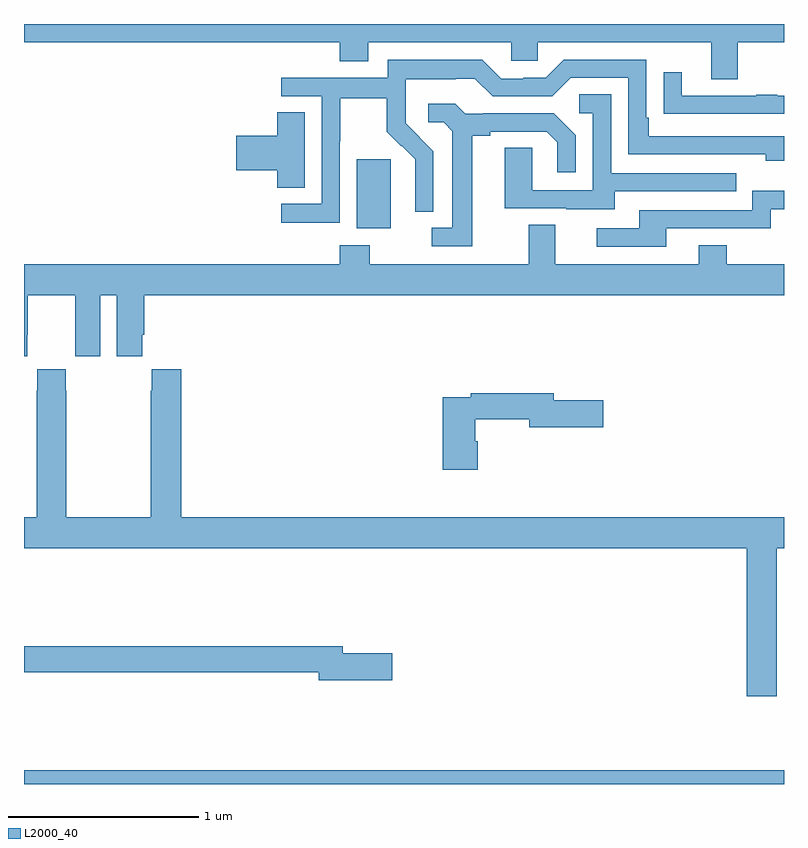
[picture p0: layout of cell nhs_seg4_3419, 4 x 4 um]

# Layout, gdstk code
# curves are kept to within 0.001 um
import gdstk
lib = gdstk.Library(unit=1e-6, precision=1e-09)
def R(c, l, rs):  # rectangles x0, y0, x1, y1
    for r in rs: c.add(gdstk.rectangle(r[:2], r[2:], *l))
def P(c, l, *ps):  # polygons
    for p in ps: c.add(gdstk.Polygon(p, *l))
L2000_40 = (2000, 40)

nhs_seg4_3419 = lib.new_cell('nhs_seg4_3419')
R(nhs_seg4_3419, L2000_40, [(291,808.9,295,808.972), (292.751,811.826,292.93,812.187)])
P(nhs_seg4_3419, L2000_40, [(294.757,812.804),(295,812.804),(295,812.9),(291,812.9),(291,812.804),(292.661,812.804),(292.661,812.705),(292.813,812.705),(292.813,812.804),(293.565,812.804),(293.565,812.706),(293.703,812.706),(293.703,812.804),(294.617,812.804),(294.617,812.61),(294.757,812.61)],
  [(292.662,812.284),(292.665,812.284),(292.665,812.508),(292.909,812.508),(292.909,812.333),(292.986,812.256),(292.989,812.259),(293.06,812.189),(293.06,812.066),(293.058,812.066),(293.058,811.912),(293.154,811.912),(293.154,812.23),(293.008,812.378),(293.008,812.475),(293.01,812.475),(293.01,812.609),(293.273,812.609),(293.273,812.613),(293.373,812.613),(293.466,812.52),(293.781,812.52),(293.877,812.616),(294.18,812.616),(294.18,812.214),(294.905,812.214),(294.905,812.18),(295,812.18),(295,812.31),(294.289,812.31),(294.289,812.407),(294.276,812.407),(294.276,812.712),(293.841,812.712),(293.745,812.616),(293.627,812.616),(293.627,812.613),(293.511,812.613),(293.411,812.713),(292.914,812.713),(292.914,812.616),(292.353,812.616),(292.353,812.52),(292.566,812.52),(292.566,811.953),(292.353,811.953),(292.353,811.855),(292.662,811.855)],
  [(295,812.523),(294.965,812.523),(294.965,812.528),(294.853,812.528),(294.853,812.523),(294.463,812.523),(294.463,812.647),(294.367,812.647),(294.367,812.428),(294.469,812.428),(294.469,812.427),(295,812.427)],
  [(294.109,812.019),(294.749,812.019),(294.749,812.115),(294.09,812.115),(294.09,812.531),(293.922,812.531),(293.922,812.43),(293.994,812.43),(293.994,812.025),(293.676,812.025),(293.676,812.249),(293.531,812.249),(293.531,811.929),(293.855,811.929),(293.855,811.925),(294.109,811.925)],
  [(293.359,812.312),(293.455,812.312),(293.455,812.334),(293.75,812.334),(293.807,812.277),(293.807,812.121),(293.904,812.121),(293.904,812.314),(293.788,812.43),(293.416,812.43),(293.416,812.427),(293.322,812.427),(293.27,812.479),(293.127,812.479),(293.127,812.382),(293.208,812.382),(293.255,812.335),(293.255,811.827),(293.145,811.827),(293.145,811.731),(293.359,811.731)],
  [(292.477,812.435),(292.334,812.435),(292.334,812.312),(292.116,812.312),(292.116,812.129),(292.334,812.129),(292.334,812.038),(292.477,812.038)],
  [(294.379,811.824),(294.93,811.824),(294.93,811.926),(295,811.926),(295,812.023),(294.834,812.023),(294.834,811.92),(294.239,811.92),(294.239,811.824),(294.015,811.824),(294.015,811.728),(294.379,811.728)],
  [(291.018,811.264),(291.019,811.264),(291.019,811.472),(291.269,811.472),(291.269,811.264),(291.27,811.264),(291.27,811.152),(291.4,811.152),(291.4,811.472),(291.488,811.472),(291.488,811.152),(291.622,811.152),(291.622,811.264),(291.632,811.264),(291.632,811.472),(295,811.472),(295,811.636),(294.699,811.636),(294.699,811.735),(294.551,811.735),(294.551,811.636),(293.797,811.636),(293.797,811.844),(293.657,811.844),(293.657,811.636),(292.821,811.636),(292.821,811.735),(292.661,811.735),(292.661,811.636),(291,811.636),(291,811.152),(291.018,811.152)],
  [(294.963,810.14),(295,810.14),(295,810.304),(291.827,810.304),(291.827,811.084),(291.673,811.084),(291.673,810.971),(291.667,810.971),(291.667,810.304),(291.222,810.304),(291.222,810.971),(291.219,810.971),(291.219,811.084),(291.069,811.084),(291.069,810.971),(291.067,810.971),(291.067,810.304),(291,810.304),(291,810.14),(294.803,810.14),(294.803,809.361),(294.963,809.361)],
  [(293.387,810.705),(293.374,810.705),(293.374,810.82),(293.66,810.82),(293.66,810.778),(294.049,810.778),(294.049,810.92),(293.788,810.92),(293.788,810.956),(293.35,810.956),(293.35,810.936),(293.204,810.936),(293.204,810.555),(293.387,810.555)],
  [(292.939,809.588),(292.678,809.588),(292.678,809.624),(291,809.624),(291,809.488),(292.55,809.488),(292.55,809.446),(292.939,809.446)])

lib.write_gds('nhs_seg4_3419.gds')
